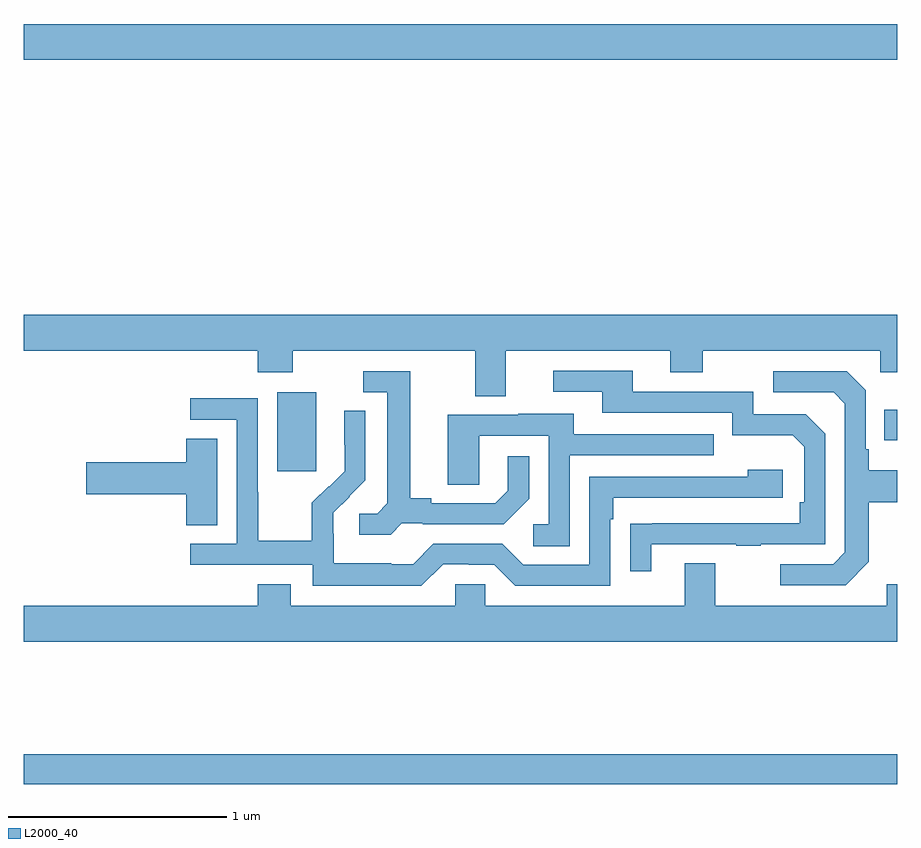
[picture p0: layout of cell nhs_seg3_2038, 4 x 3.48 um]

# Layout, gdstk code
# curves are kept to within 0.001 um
import gdstk
lib = gdstk.Library(unit=1e-6, precision=1e-09)
def R(c, l, rs):  # rectangles x0, y0, x1, y1
    for r in rs: c.add(gdstk.rectangle(r[:2], r[2:], *l))
def P(c, l, *ps):  # polygons
    for p in ps: c.add(gdstk.Polygon(p, *l))
L2000_40 = (2000, 40)

nhs_seg3_2038 = lib.new_cell('nhs_seg3_2038')
R(nhs_seg3_2038, L2000_40, [(215,734.896,219,735.032), (216.161,736.329,216.34,736.69), (218.941,736.469,219,736.609), (215,738.212,219,738.376)])
P(nhs_seg3_2038, L2000_40, [(217.207,736.88),(217.961,736.88),(217.961,736.781),(218.109,736.781),(218.109,736.88),(218.922,736.88),(218.922,736.781),(219,736.781),(219,737.044),(215,737.044),(215,736.88),(216.071,736.88),(216.071,736.781),(216.231,736.781),(216.231,736.88),(217.067,736.88),(217.067,736.672),(217.207,736.672)],
  [(217.873,735.993),(218.263,735.993),(218.263,735.988),(218.375,735.988),(218.375,735.993),(218.67,735.993),(218.67,736.5),(218.58,736.59),(218.34,736.59),(218.34,736.692),(217.789,736.692),(217.789,736.788),(217.425,736.788),(217.425,736.692),(217.649,736.692),(217.649,736.596),(218.244,736.596),(218.244,736.493),(218.521,736.493),(218.574,736.44),(218.574,736.186),(218.554,736.186),(218.554,736.089),(217.777,736.088),(217.777,735.87),(217.873,735.87)],
  [(216.732,736.089),(216.826,736.089),(216.826,736.086),(217.198,736.086),(217.314,736.202),(217.314,736.396),(217.217,736.396),(217.217,736.239),(217.16,736.182),(216.865,736.182),(216.865,736.205),(216.769,736.205),(216.769,736.785),(216.555,736.785),(216.555,736.689),(216.665,736.689),(216.665,736.181),(216.618,736.134),(216.537,736.134),(216.537,736.037),(216.68,736.037)],
  [(218.869,735.913),(218.869,736.186),(219,736.186),(219,736.333),(218.869,736.333),(218.869,736.429),(218.856,736.429),(218.856,736.698),(218.769,736.785),(218.433,736.785),(218.433,736.689),(218.709,736.689),(218.76,736.638),(218.76,735.957),(218.706,735.903),(218.463,735.903),(218.463,735.807),(218.763,735.807)],
  [(216.921,735.903),(217.037,735.903),(217.037,735.9),(217.155,735.9),(217.251,735.804),(217.686,735.804),(217.686,736.109),(217.699,736.109),(217.699,736.206),(218.476,736.206),(218.476,736.336),(218.315,736.336),(218.315,736.302),(217.59,736.302),(217.59,735.9),(217.287,735.9),(217.191,735.996),(216.876,735.996),(216.783,735.903),(216.683,735.903),(216.683,735.907),(216.42,735.907),(216.42,736.041),(216.418,736.041),(216.418,736.138),(216.564,736.286),(216.564,736.604),(216.468,736.604),(216.468,736.45),(216.47,736.45),(216.47,736.328),(216.399,736.257),(216.396,736.26),(216.319,736.183),(216.319,736.009),(216.075,736.009),(216.075,736.232),(216.072,736.232),(216.072,736.662),(215.763,736.662),(215.763,736.563),(215.976,736.563),(215.976,735.996),(215.763,735.996),(215.763,735.9),(216.324,735.9),(216.324,735.803),(216.821,735.803)],
  [(217.5,736.401),(218.159,736.401),(218.159,736.497),(217.519,736.497),(217.519,736.591),(217.265,736.591),(217.265,736.587),(216.941,736.587),(216.941,736.267),(217.086,736.267),(217.086,736.491),(217.404,736.491),(217.404,736.086),(217.332,736.086),(217.332,735.985),(217.5,735.985)],
  [(215.887,736.478),(215.744,736.478),(215.744,736.37),(215.286,736.37),(215.286,736.223),(215.744,736.223),(215.744,736.081),(215.887,736.081)],
  [(219,735.811),(218.951,735.811),(218.951,735.712),(218.167,735.712),(218.167,735.907),(218.027,735.907),(218.027,735.712),(217.113,735.712),(217.113,735.81),(216.975,735.81),(216.975,735.712),(216.223,735.712),(216.223,735.811),(216.071,735.811),(216.071,735.712),(215,735.712),(215,735.548),(219,735.548)])

lib.write_gds('nhs_seg3_2038.gds')
